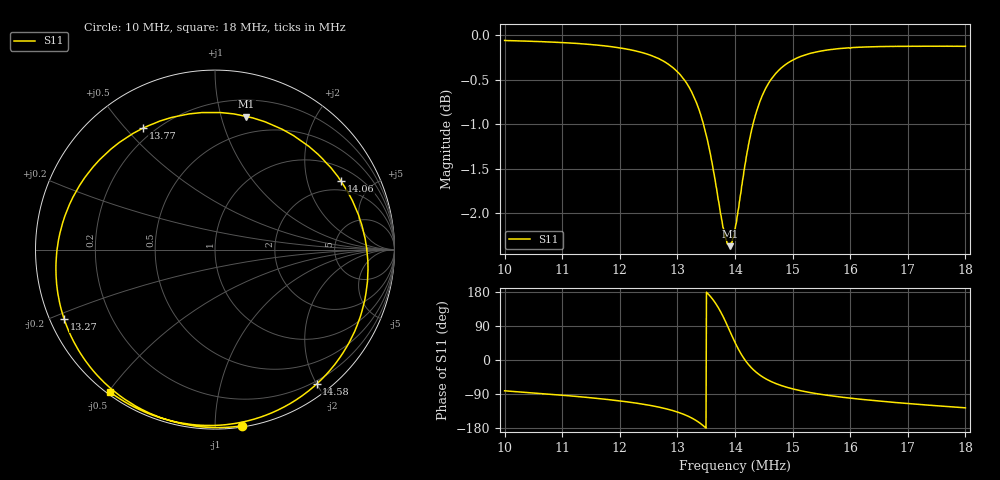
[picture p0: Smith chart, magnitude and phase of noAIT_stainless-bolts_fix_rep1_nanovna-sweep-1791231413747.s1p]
! NanoVNA Web complex sweep
! Processing: unaveraged complex samples; linear segment spacing; no smoothing
# Hz S RI R 50
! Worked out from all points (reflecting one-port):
!   1010 points, 10 MHz to 18 MHz, reference 50 ohm
!   lowest |S11| = -2.4 dB at 13.91 MHz (marker M1), VSWR 7.38, Z = 17.1 + j60.2 ohm
!   phase of S11 starts at -81 deg and turns -405 deg over the sweep
!   S11 on the Smith chart (normalised r, x): 10 MHz: 0.01, -1.17; 13.27 MHz: 0.04, -0.22; 13.77 MHz: 0.16, +0.56; 14.06 MHz: 1.55, +3.26; 14.58 MHz: 0.16, -2.00; 18 MHz: 0.01, -0.51
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1e7  0.1509 -0.9819
1.100698e7  -0.0512 -0.9894
1.200604e7  -0.3051 -0.9354
1.260071e7  -0.5144 -0.8255
1.300509e7  -0.7033 -0.6439
1.314781e7  -0.7779 -0.5299
1.327468e7  -0.84 -0.3885
1.344912e7  -0.8864 -0.1026
1.357598e7  -0.8356 0.1892
1.367906e7  -0.6791 0.4609
1.37742e7  -0.3994 0.6779
1.384556e7  -0.1084 0.7601
1.3909e7  0.1743 0.7411
1.395657e7  0.3763 0.6695
1.400414e7  0.5498 0.5524
1.405965e7  0.7024 0.3804
1.411515e7  0.7995 0.1935
1.417065e7  0.8448 0.0102
1.423409e7  0.8495 -0.1785
1.431338e7  0.8095 -0.3744
1.443231e7  0.7053 -0.5878
1.457503e7  0.5659 -0.7493
1.476533e7  0.3985 -0.8693
1.50032e7  0.2308 -0.9407
1.543929e7  0.0101 -0.9791
1.600225e7  -0.1823 -0.9666
1.700131e7  -0.4152 -0.8943
1.800036e7  -0.5827 -0.7953
